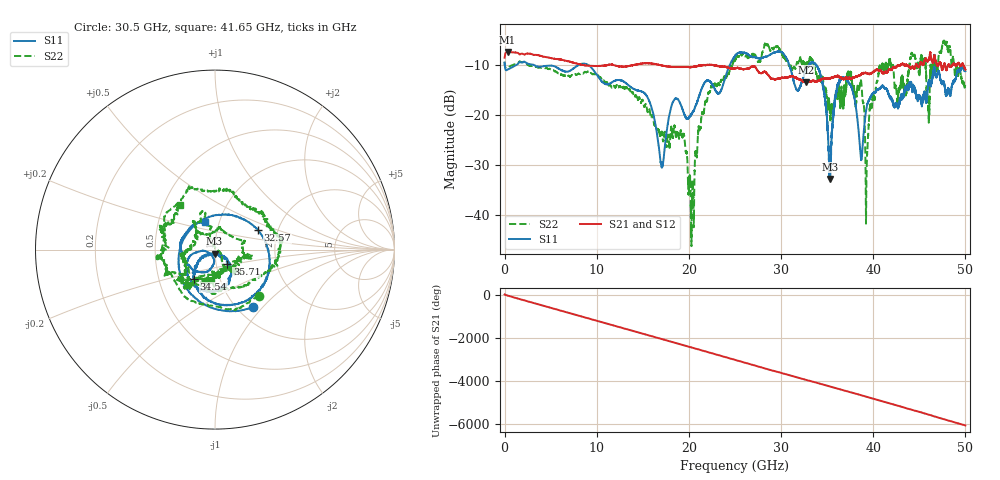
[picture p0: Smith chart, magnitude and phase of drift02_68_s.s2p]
!Created with skrf (http://scikit-rf.org).
# Hz S RI R 50.0
!freq ReS11 ImS11 ReS21 ImS21 ReS12 ImS12 ReS22 ImS22
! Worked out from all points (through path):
!   10001 points, 300 kHz to 50 GHz, reference 50 ohm
!   highest |S21| = -7.32 dB at 325.3 MHz (marker M1); lowest = -13.5 dB at 32.72 GHz (marker M2)
!   group delay of S21, straight-line fit = 335 ps
!   lowest |S11| = -32.8 dB at 35.29 GHz (marker M3), VSWR 1.05, Z = 49.7 - j2.26 ohm
!   |S11| at or under -10 dB: 3.231 GHz to 7.995 GHz (4.764 GHz wide, 84.9 % of centre); 9.107 GHz to 24.41 GHz (15.31 GHz wide, 91.3 % of centre); 33.83 GHz to 49.63 GHz (15.8 GHz wide, 37.9 % of centre) (the widest 3 of 9)
!   |S22| runs from -46.3 to -5.0 dB; largest |S21 - S12| = 0.015
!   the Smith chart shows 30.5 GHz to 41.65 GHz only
!   S11 on the Smith chart (normalised r, x): 30.5 GHz: 1.17, -0.88; 32.57 GHz: 1.58, +0.37; 34.54 GHz: 0.75, -0.26; 35.71 GHz: 1.13, -0.18; 41.65 GHz: 0.86, +0.27
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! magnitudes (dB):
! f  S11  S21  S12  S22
! 300 kHz  -9.5  -8.5  -8.4  -9.3
! 325.3 MHz  -10.9  -7.3  -7.3  -10.6
! 8.335 GHz  -9.7  -9.9  -9.9  -11.6
! 16.67 GHz  -25.5  -9.9  -9.9  -22.9
! 19.31 GHz  -18.8  -10.4  -10.4  -24.5
! 20.36 GHz  -19.6  -10.4  -10.4  -34.5
! 21.94 GHz  -13.1  -10.0  -10.0  -17.2
! 25 GHz  -8.1  -10.6  -10.6  -9.0
! 30.5 GHz  -8.3  -12.5  -12.4  -9.0
! 32.57 GHz  -11.6  -13.2  -13.3  -10.2
! 32.72 GHz  -11.0  -13.5  -13.5  -10.1
! 33.34 GHz  -9.5  -13.1  -13.2  -9.0
! 34.54 GHz  -13.9  -12.7  -12.7  -12.5
! 35.29 GHz  -32.8  -12.5  -12.5  -19.0
! 35.71 GHz  -19.6  -12.4  -12.4  -18.8
! 37.14 GHz  -12.9  -12.5  -12.4  -13.0
! 38.54 GHz  -25.9  -12.0  -12.0  -14.1
! 39.31 GHz  -18.2  -11.6  -11.6  -29.2
! 41.65 GHz  -15.7  -11.1  -11.1  -10.0
! 41.67 GHz  -15.9  -10.9  -11.1  -9.6
! 47.77 GHz  -14.3  -9.8  -9.8  -5.5
! 50 GHz  -11.2  -10.8  -10.8  -14.0
